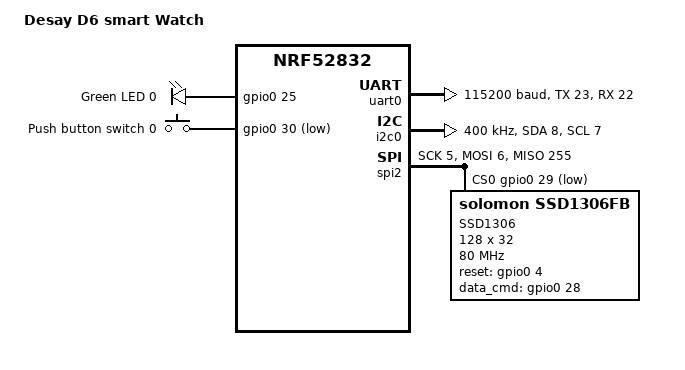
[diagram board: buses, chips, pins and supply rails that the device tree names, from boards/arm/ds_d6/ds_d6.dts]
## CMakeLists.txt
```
# SPDX-License-Identifier: Apache-2.0

cmake_minimum_required(VERSION 3.13.1)
# Add the board
list(APPEND BOARD_ROOT ${CMAKE_CURRENT_LIST_DIR})

find_package(Zephyr REQUIRED HINTS $ENV{ZEPHYR_BASE})
project(periferal)



include_directories(include)

target_sources(app PRIVATE
  src/main.c
#  src/param_sync.c
)


set(ZEPHYR_BOARD_FLASH_RUNNER jlink)
```

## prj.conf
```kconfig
# Incresed stack due to settings API usage
CONFIG_LOG=y

CONFIG_SYSTEM_WORKQUEUE_STACK_SIZE=2048

CONFIG_BT=y
CONFIG_BT_DEBUG_LOG=y
CONFIG_BT_SMP=y
CONFIG_BT_SIGNING=y
CONFIG_BT_PERIPHERAL=y
CONFIG_BT_DIS=y
CONFIG_BT_ATT_PREPARE_COUNT=5
CONFIG_BT_BAS=y
CONFIG_BT_HRS=y
CONFIG_BT_PRIVACY=y
CONFIG_BT_DEVICE_APPEARANCE=833
CONFIG_BT_DEVICE_NAME_DYNAMIC=n
CONFIG_BT_DEVICE_NAME_MAX=65

CONFIG_BT_KEYS_OVERWRITE_OLDEST=y
CONFIG_BT_SETTINGS=y
CONFIG_FLASH=y
CONFIG_FLASH_PAGE_LAYOUT=y
CONFIG_FLASH_MAP=y
CONFIG_NVS=y
CONFIG_SETTINGS=y
CONFIG_BT_GATT_CLIENT=y
```

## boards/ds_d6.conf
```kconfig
CONFIG_HEAP_MEM_POOL_SIZE=16384
CONFIG_MAIN_STACK_SIZE=2048

CONFIG_LVGL_FONT_MONTSERRAT_28=n
CONFIG_LVGL_FONT_MONTSERRAT_14=y

CONFIG_LVGL_USE_LABEL=y
CONFIG_LVGL_USE_CONT=y
CONFIG_LVGL_USE_THEME_MATERIAL=n
CONFIG_LVGL_TXT_ENC_UTF8=y
CONFIG_LVGL_FONT_UNSCII_8=n
CONFIG_LVGL_VDB_SIZE=64
CONFIG_USE_SEGGER_RTT=n
CONFIG_LVGL_USE_THEME_MONO=y
CONFIG_LVGL_THEME_DEFAULT_COLOR_PRIMARY_WHITE=y
CONFIG_LVGL_THEME_DEFAULT_COLOR_SECONDARY_BLACK=y
# Time functions
CONFIG_NEWLIB_LIBC=y
#CONFIG_LVGL_POINTER_KSCAN=y
CONFIG_BT_DEVICE_NAME="dsd6"
CONFIG_UART_CONSOLE=y
CONFIG_BT_CONN_TX_MAX=3
CONFIG_BT_SHELL=y
```

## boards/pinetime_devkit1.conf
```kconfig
CONFIG_ST7789V=y
CONFIG_LVGL_FONT_MONTSERRAT_28=y
CONFIG_LVGL_FONT_MONTSERRAT_14=n
CONFIG_LVGL_DISPLAY_DEV_NAME="ST7789V"

CONFIG_LVGL_USE_LABEL=y
CONFIG_LVGL_USE_CONT=y
CONFIG_LVGL_USE_BTN=y
#CONFIG_LVGL_USE_SLIDER=y
#CONFIG_LVGL_USE_IMG=y
CONFIG_LVGL_USE_THEME_MATERIAL=n
#CONFIG_ST7789V=y
CONFIG_LVGL_TXT_ENC_UTF8=y
#CONFIG_LVGL_FONT_MONTSERRAT_14=y
CONFIG_LVGL_FONT_UNSCII_8=n
CONFIG_LVGL_VDB_SIZE=64
#CONFIG_LVGL_VDB_SIZE=2
CONFIG_USE_SEGGER_RTT=y
CONFIG_LVGL_USE_THEME_MONO=y
CONFIG_LVGL_THEME_DEFAULT_COLOR_PRIMARY_WHITE=y
CONFIG_LVGL_THEME_DEFAULT_COLOR_SECONDARY_BLACK=y
# Time functions
#CONFIG_NEWLIB_LIBC=y
CONFIG_LVGL_POINTER_KSCAN=y
CONFIG_BT_DEVICE_NAME="pinetime"
```

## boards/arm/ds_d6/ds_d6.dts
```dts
/*
* Copyright (c) 2019 Nordic Semiconductor ASA
*
* SPDX-License-Identifier: LicenseRef-BSD-5-Clause-Nordic
*/

/dts-v1/;
#include <nordic/nrf52832_qfaa.dtsi>

/ {
model = "Desay D6 smart Watch";
compatible = "nordic, nrf52832";

chosen {
	zephyr,console = &uart0;
	zephyr,shell-uart = &uart0;
	zephyr,uart-mcumgr = &uart0;
	zephyr,bt-mon-uart = &uart0;
	zephyr,bt-c2h-uart = &uart0;

	zephyr,sram = &sram0;
	zephyr,flash = &flash0;
	zephyr,code-partition = &slot0_partition;
};
leds    {
	compatible = "gpio-leds";
                led0_green: led_0 {
/*pin 25 is the motor*/
                       gpios = <&gpio0 25 GPIO_ACTIVE_HIGH>; //this is heart rate sensor led
                       label = "Green LED 0";
	//	       default-state = "on";
                };

        };


	buttons {
		compatible = "gpio-keys";
		button0: button_0 {
			gpios = <&gpio0 30 (GPIO_PULL_UP | GPIO_ACTIVE_LOW)>;
			label = "Push button switch 0";
		};
	};

       //heart rate sensor needs power, used this to pretend starting up a power rail 
	aliases {
		sw0 = &button0;
		led0 = &led0_green;
	};

};

&gpiote {
	status = "okay";
};

&gpio0 {
	status = "okay";
};
&uart0 {
	status = "okay";
	compatible = "nordic,nrf-uart";
	current-speed = <115200>;
	tx-pin = <23>;
	rx-pin = <22>;
};

&i2c0 {
	compatible = "nordic,nrf-twi";
	status = "okay";
	sda-pin = <8>;
	scl-pin = <7>;
	clock-frequency = <I2C_BITRATE_FAST>;
//	clock-frequency = <400000>;
/*	max44009@6b {
		//power-gpios = <&gpio0 26 1>;
		compatible = "maxim,max44009";
		reg=<0x6b>;
		label="MAX44009";
        //        vin-supply = <&vdd_pwr>; //heart rate controller needs power first
	};*/
};

/*
&i2c1 {
	compatible = "nordic,nrf-twi";
	status = "okay";
	sda-pin = <14>;
	scl-pin = <13>;
	clock-frequency = <100000>;
	BME280@1f {
		compatible = "bosch,bme280";
		reg=<0x1f>;
		label="BME280";
	};
};


*/

&flash0 {
	/*
	 * For more information, see:
	 * http://docs.zephyrproject.org/latest/guides/dts/index.html#flash-partitions
	 */
	partitions {
		compatible = "fixed-partitions";
		#address-cells = <1>;
		#size-cells = <1>;

		boot_partition: partition@0 {
			label = "mcuboot";
			reg = <0x00000000 0x0000C000>;
		};
		slot0_partition: partition@c000 {
			label = "image-0";
			reg = <0x0000C000 0x00032000>;
		};
		slot1_partition: partition@3e000 {
			label = "image-1";
			reg = <0x0003e000 0x00032000>;
		};
		scratch_partition: partition@70000 {
			label = "image-scratch";
			reg = <0x00070000 0x0000a000>;
		};
		storage_partition: partition@7a000 {
			label = "storage";
			reg = <0x0007a000 0x00006000>;
		};
	};
};


&spi2 {
        compatible = "nordic,nrf-spi";
        status = "okay";
        sck-pin = <5>;
        mosi-pin = <6>;
        miso-pin = <0xFF>;
       // cs-gpios = <&gpio0 29 (GPIO_ACTIVE_LOW)>;
        cs-gpios = <&gpio0 29 (GPIO_ACTIVE_LOW)>;
        ssd1306new@0 {
                compatible = "solomon,ssd1306fb";
        	spi-max-frequency = <80000000>; 
                label = "SSD1306";
                reg = <0>;
		segment-offset = <0>;
		page-offset = <0>;
		display-offset = <0>; 
		multiplex-ratio = <31>;
		height = <32>;
		width = <128>;
		segment-remap;
//		com-invdir;
//alternative 0x12		com-sequential;
		prechargep = <0xF1>;
		reset-gpios = <&gpio0 4 0>;
                data_cmd-gpios = <&gpio0 28 0>;
        };
};
```

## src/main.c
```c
/* main.c - Application main entry point */

/*
 * Copyright (c) 2015-2016 Intel Corporation
 *
 * SPDX-License-Identifier: Apache-2.0
 * Copyright (c) 2021 najnesnaj@yahoo.com 

 */

#include <zephyr/types.h>
#include <stddef.h>
#include <string.h>
#include <errno.h>
#include <sys/printk.h>
#include <sys/byteorder.h>
#include <zephyr.h>

#include <settings/settings.h>

#include <bluetooth/bluetooth.h>
#include <bluetooth/hci.h>
#include <bluetooth/conn.h>
#include <bluetooth/uuid.h>
#include <bluetooth/gatt.h>

/* Custom Service Variables */
static struct bt_uuid_128 vnd_uuid = BT_UUID_INIT_128(
		0xf0, 0xde, 0xbc, 0x9a, 0x78, 0x56, 0x34, 0x12,
		0x78, 0x56, 0x34, 0x12, 0x78, 0x56, 0x34, 0x12);

static struct bt_uuid_128 vnd_enc_uuid = BT_UUID_INIT_128(
		0xf1, 0xde, 0xbc, 0x9a, 0x78, 0x56, 0x34, 0x12,
		0x78, 0x56, 0x34, 0x12, 0x78, 0x56, 0x34, 0x12);

static struct bt_uuid_128 vnd_auth_uuid = BT_UUID_INIT_128(
		0xf2, 0xde, 0xbc, 0x9a, 0x78, 0x56, 0x34, 0x12,
		0x78, 0x56, 0x34, 0x12, 0x78, 0x56, 0x34, 0x12);

static uint8_t vnd_value[] = { 'V', 'e', 'n', 'd', 'o', 'r' };

static ssize_t read_vnd(struct bt_conn *conn, const struct bt_gatt_attr *attr,
		void *buf, uint16_t len, uint16_t offset)
{
	const char *value = attr->user_data;

	return bt_gatt_attr_read(conn, attr, buf, len, offset, value,
			strlen(value));
}

static ssize_t write_vnd(struct bt_conn *conn, const struct bt_gatt_attr *attr,
		const void *buf, uint16_t len, uint16_t offset,
		uint8_t flags)
{
	uint8_t *value = attr->user_data;

	if (offset + len > sizeof(vnd_value)) {
		return BT_GATT_ERR(BT_ATT_ERR_INVALID_OFFSET);
	}

	memcpy(value + offset, buf, len);

	return len;
}

static uint8_t simulate_vnd;

static void vnd_ccc_cfg_changed(const struct bt_gatt_attr *attr, uint16_t value)
{
	simulate_vnd = (value == BT_GATT_CCC_INDICATE) ? 1 : 0;
}
/* Vendor Primary Service Declaration */
BT_GATT_SERVICE_DEFINE(vnd_svc,
		BT_GATT_PRIMARY_SERVICE(&vnd_uuid),
		BT_GATT_CHARACTERISTIC(&vnd_enc_uuid.uuid, BT_GATT_CHRC_NOTIFY,
			BT_GATT_PERM_NONE, NULL, NULL, NULL),

		BT_GATT_CCC(vnd_ccc_cfg_changed,
			BT_GATT_PERM_READ | BT_GATT_PERM_WRITE_ENCRYPT),
		BT_GATT_CHARACTERISTIC(&vnd_auth_uuid.uuid,
			BT_GATT_CHRC_READ | BT_GATT_CHRC_WRITE,
			BT_GATT_PERM_READ_AUTHEN |
			BT_GATT_PERM_WRITE_AUTHEN,
			read_vnd, write_vnd, vnd_value),
		);

static const struct bt_data ad[] = {
	BT_DATA_BYTES(BT_DATA_FLAGS, (BT_LE_AD_GENERAL | BT_LE_AD_NO_BREDR)),
};

static void connected(struct bt_conn *conn, uint8_t err)
{
	if (err) {
		printk("Connection failed (err 0x%02x)\n", err);
	} else {
		printk("Connected\n");
		//cts_sync_enable(true); //only if testing cts
	}
}

static void disconnected(struct bt_conn *conn, uint8_t reason)
{
	printk("Disconnected (reason 0x%02x)\n", reason);
	//cts_sync_enable(false);
}

static struct bt_conn_cb conn_callbacks = {
	.connected = connected,
	.disconnected = disconnected,
};

static void bt_ready(void)
{
	int err;

	printk("Bluetooth initialized\n");


	if (IS_ENABLED(CONFIG_SETTINGS)) {
		settings_load();
	}

	err = bt_le_adv_start(BT_LE_ADV_CONN_NAME, ad, ARRAY_SIZE(ad), NULL, 0);
	if (err) {
		printk("Advertising failed to start (err %d)\n", err);
		return;
	}

	printk("Advertising successfully started\n");
}

int bt_vendor_notify(uint16_t sequence, uint16_t heartrate)
{
	int rc;
	static uint8_t hrm[2];

	hrm[0] = sequence; /* value to describe the order, in case something gets lost */
	hrm[1] = heartrate; /* this is the real parameter value */

	rc = bt_gatt_notify(NULL, &vnd_svc.attrs[1], &hrm, sizeof(hrm));

	return rc == -ENOTCONN ? 0 : rc;
}

static void param_notify(int nummer)
{
	// instead of 240-nummer a measurement value can be used
	bt_vendor_notify(nummer,240-nummer);

}
void main(void)
{
	int err;
	int teller=0;
	err = bt_enable(NULL);
	if (err) {
		printk("Bluetooth init failed (err %d)\n", err);
		return;
	}

	bt_ready();

	bt_conn_cb_register(&conn_callbacks);



	/* Implement notification
	 */
	while (1) {
		teller++;
		if (teller > 240) teller=0;
		param_notify(teller);
		k_sleep(K_SECONDS(1));
	}
}
```

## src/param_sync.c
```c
/*
 * Copyright (c) 2020 Dejvino
 * Copyright (c) 2020 Endian Technologies AB
 * Copyright (c) 2020 max00
 * Copyright (c) 2021 Najnesnaj 
 *
 * SPDX-License-Identifier: Apache-2.0
 */

#include <bluetooth/bluetooth.h>
#include <bluetooth/hci.h>
#include <bluetooth/conn.h>
#include <bluetooth/uuid.h>
#include <bluetooth/gatt.h>
#include <zephyr/types.h>
#include <stdio.h>
#include <time.h>
//#include "log.h"
#include <logging/log.h>
LOG_MODULE_REGISTER(sync);

//LOG_MODULE_DECLARE(sync, LOG_LEVEL_INF);
#include "param_sync.h"
//#include "clock.h"

/* ********** Definitions ********** */
//#define CTS_SYNC_INTERVAL K_SECONDS(60)
#define CTS_SYNC_INTERVAL K_SECONDS(6)

/* ********** Function prototypes ********** */
static void cts_sync_timer_timeout_handler(struct k_timer *);
static void cts_sync_processor(struct bt_conn *, void *);

/* ********** Variables ********** */
static struct k_timer m_cts_sync_timer;
static struct bt_gatt_discover_params cts_discovery_params;
static struct bt_uuid_16 uuid = BT_UUID_INIT_16(0);
static struct bt_gatt_read_params read_params;
//cts_datetime_t clock_datetime;
static struct {
	int offset;
	//cts_datetime_t datetime;
	int parameter;
} m_read_buf;

/* ********** Functions ********** */
void param_sync_init()
{
	LOG_INF("CTS sync init\n");
	k_timer_init(&m_cts_sync_timer, cts_sync_timer_timeout_handler, NULL);
}

void cts_sync_enable(bool enable)
{
	if (enable) {
		k_timer_start(&m_cts_sync_timer, K_NO_WAIT, CTS_SYNC_INTERVAL);
	} else {
		k_timer_stop(&m_cts_sync_timer);
	}
}
/*
   static void sync_cts_to_clock(cts_datetime_t* cts_datetime)
   {
   if (cts_datetime->year + cts_datetime->day + cts_datetime->hours
   + cts_datetime->minutes + cts_datetime->seconds == 0) {
   LOG_WRN("Ignoring suspicious time data from companion application.");
   return;
   }

   LOG_INF("CTS sync to clock started.\n Y%04d D%03d T%2d:%2d:%2d",
   cts_datetime->year, cts_datetime->day,
   cts_datetime->hours, cts_datetime->minutes, cts_datetime->seconds);

   memcpy(&clock_datetime, cts_datetime, sizeof(clock_datetime));
   clock_sync_time(cts_datetime);
   LOG_INF("CTS sync to clock complete.");
   }
   void cts_update_datetime(struct tm *t)
   {
   t->tm_year = clock_datetime.year -1900;
   t->tm_mon = clock_datetime.month -1;
   t->tm_mday = clock_datetime.day;
   t->tm_hour = clock_datetime.hours;
   t->tm_min = clock_datetime.minutes;
   t->tm_sec = clock_datetime.seconds;
   }
 */

static void cts_sync_timer_timeout_handler(struct k_timer *tmr)
{
	LOG_INF("CTS sync timer timeout handler\n");
	bt_conn_foreach(BT_CONN_TYPE_LE, cts_sync_processor, NULL);
}

uint8_t cts_sync_read(struct bt_conn *conn, uint8_t err,
		struct bt_gatt_read_params *params,
		//const void *data, u16_t length)
		const void *data, uint16_t length)
{
	//	LOG_DBG("Reading CCC data: err %d, %d bytes, offset %d.", err, length, m_read_buf.offset);
	int test=0;
	LOG_INF("sync read lenght %d \n",length);
	if (!data || length <= 0) {
		LOG_INF("oops  ");
		//sync_cts_to_clock(&m_read_buf.datetime);
		return BT_GATT_ITER_STOP;
	}
	//	m_read_buf.offset=0;
	memcpy(&m_read_buf.parameter, data, length);
	//memcpy(&test, data, length);
	LOG_INF("sync_read %d\n",m_read_buf.parameter); //todo this works if only 1 byte - values till 254 OK
//	m_read_buf.offset=9;
	memcpy(&m_read_buf.parameter + m_read_buf.offset, data, length);
	LOG_INF("sync_read %d\n",m_read_buf.parameter); //todo this works if only 1 byte - values till 254 OK
	//memcpy(&test+1, data, length);
	//LOG_INF("sync_read 2 %d",test); //todo this works if only 1 byte - values till 254 OK
	//	memcpy(&m_read_buf.datetime + m_read_buf.offset, data, length);
	//m_read_buf.offset += length;

	return BT_GATT_ITER_CONTINUE;
}

uint8_t cts_sync_service_discovered(struct bt_conn* conn, const struct bt_gatt_attr* attr,
		struct bt_gatt_discover_params* params)
{
	if (!attr) {
		LOG_INF("CTS Service Discovery completed");
		return BT_GATT_ITER_STOP;
	}
	//LOG_DBG("Discovered attribute, handle: %u", attr->handle);
	LOG_INF("discovered attribute\n");
	memset(&read_params, 0, sizeof(read_params));
	read_params.func = cts_sync_read;
	read_params.by_uuid.uuid = (struct bt_uuid *) &uuid;
	read_params.by_uuid.start_handle = attr->handle;
	read_params.by_uuid.end_handle = 0xffff;
	//m_read_buf.offset = 0;
	if (bt_gatt_read(conn, &read_params) < 0) {
		//LOG_DBG("Could not initiate read of CCC data.");
		LOG_INF("problem reading");
	}

	return BT_GATT_ITER_STOP;
}

static void cts_sync_processor(struct bt_conn *conn, void *data)
{
	//	memcpy(&uuid,BT_UUID_BAS_BATTERY_LEVEL, BT_UUID_CTS_CURRENT_TIME, sizeof(uuid));
	//#define BT_UUID_BAS_BATTERY_LEVEL_VAL 0x2a19
	memcpy(&uuid, BT_UUID_BAS_BATTERY_LEVEL, sizeof(uuid));
	cts_discovery_params.func = cts_sync_service_discovered;
	cts_discovery_params.start_handle = 0x0001;
	cts_discovery_params.end_handle = 0xFFFF;
	cts_discovery_params.type = BT_GATT_DISCOVER_CHARACTERISTIC;
	cts_discovery_params.uuid = (struct bt_uuid *) &uuid;

	if (bt_gatt_discover(conn, &cts_discovery_params) != 0) {
		LOG_INF("CTS Sync > GATT discovery FAILED.\n");
	}
}
```
